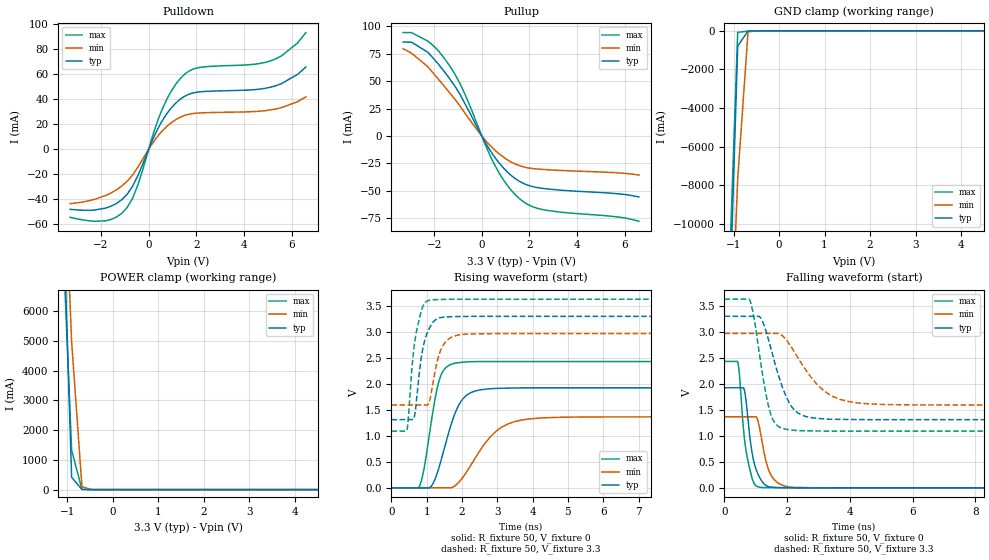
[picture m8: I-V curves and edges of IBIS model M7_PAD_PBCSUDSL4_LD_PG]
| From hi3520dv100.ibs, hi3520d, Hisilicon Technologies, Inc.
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[Model] M7_PAD_PBCSUDSL4_LD_PG
Model_type I/O
Vinl  =  0.8
Vinh  =  2
| Capacitance   typ   min   max
C_comp   3.57061683089e-12   3.82895417095e-12   3.34958467437e-12
| Variables   typ   min   max
[GND Clamp Reference]   0   0   0
[POWER Clamp Reference]   3.3   2.97   3.63
[Pulldown Reference]   0   0   0
[Pullup Reference]   3.3   2.97   3.63
[Temperature Range]   25   125   -40
[Voltage Range]   3.3   2.97   3.63
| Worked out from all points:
|   slope of the pulldown table from 0 to 0.495 V, typ, clamps not added: 24.4 ohm
|   slope of the pullup table from 0 to 0.495 V, typ, clamps not added: 27.8 ohm
|   GND clamp passes 1 mA (typ) near -0.47 V on its own axis
|   POWER clamp passes 1 mA (typ) near -0.51 V on its own axis
|   falling waveform, R_fixture 50, V_fixture 0: 20-80 % time 279ps typ, 325ps min, 252ps max; typ from 1.92 V to 0 V
|   falling waveform, R_fixture 50, V_fixture 3.3: 20-80 % time 625ps typ, 1.03ns min, 412ps max; typ from 3.3 V to 1.31 V
|   rising waveform, R_fixture 50, V_fixture 0: 20-80 % time 525ps typ, 878ps min, 353ps max; typ from 0 V to 1.92 V
|   rising waveform, R_fixture 50, V_fixture 3.3: 20-80 % time 257ps typ, 287ps min, 240ps max; typ from 1.31 V to 3.3 V
[GND Clamp]
| Voltage   I(typ)   I(min)   I(max)
-3.3V     -188.8A    -149A      -233.7A
-1.134V   -17.95A    -21.05A    -15.29A
-907.5mV  -786.7mA   -7.652A    -79.55mA
-680.6mV  -11.81mA   -50.68mA   -16.41mA
-453.7mV  -314.5uA   -586.9uA   -272.1uA
6.6V      0A         0A         0A
[POWER Clamp]
| Voltage   I(typ)   I(min)   I(max)
-3.3V     123.1A     97.09A     152.4A
-1.134V   11.45A     13.48A     9.697A
-907.5mV  415.2mA    4.97A      1.325A
-680.6mV  3.601mA    92.24mA    5.251mA
-453.7mV  104.3uA    865.1uA    659.7uA
6.6V      0A         0A         0A
[Pulldown]
| Voltage   I(typ)   I(min)   I(max)
-3.3V     -47.98mA   -43.45mA   -54.36mA
-1.815V   -47.04mA   -37.01mA   -57.17mA
-907.5mV  -36.03mA   -25.64mA   -46.56mA
-453.7mV  -21.03mA   -14.26mA   -28.44mA
206.2mV   9.38mA     6.023mA    13.22mA
618.8mV   24.29mA    15.63mA    34.17mA
1.083V    35.85mA    23.02mA    50.49mA
1.547V    42.73mA    27.26mA    60.51mA
2.217V    46.01mA    29.11mA    65.62mA
5.115V    49.62mA    31.45mA    70.65mA
5.569V    52.4mA     33.26mA    74.52mA
6.6V      65.73mA    41.85mA    93.27mA
[Pullup]
| Voltage   I(typ)   I(min)   I(max)
-3.3V     85.82mA    79.71mA    94.45mA
-2.949V   85.69mA    75.62mA    94.43mA
-2.269V   76.52mA    63.32mA    86.72mA
-1.815V   65.39mA    51.71mA    77.66mA
-1.361V   52.69mA    39.77mA    64.49mA
-680.6mV  28.35mA    20.05mA    36.95mA
103.1mV   -4.115mA   -2.738mA   -5.654mA
567.2mV   -20.05mA   -13.33mA   -27.49mA
1.083V    -33.11mA   -21.92mA   -45.45mA
1.65V     -42.29mA   -27.64mA   -58.49mA
2.63V     -48.14mA   -30.74mA   -67.6mA
6.6V      -55.85mA   -35.75mA   -78.03mA
[Ramp]
dV/dt_r   1.15468/0.524867n  0.819596/0.877917n  1.45945/0.353464n
dV/dt_f   1.19334/0.624817n  0.825819/1.027n  1.52267/0.412168n
R_load = 50
[Falling Waveform]
R_fixture = 50
V_fixture = 0
V_fixture_min = 0
V_fixture_max = 0
| Time   V(typ)   V(min)   V(max)
0s        1.924V     1.366V     2.432V
430.8ps   1.924V     1.366V     2.408V
617.5ps   1.916V     1.366V     1.073V
929.6ps   527.6mV    1.366V     108.6mV
1.049ns   294.6mV    1.328V     25.48mV
1.214ns   112.3mV    845.4mV    6.551mV
1.391ns   27.14mV    379.6mV    5.193mV
1.624ns   8.9mV      135.3mV    3.402mV
2.602ns   877.3uV    3.791mV    689.3uV
100ns     6.287nV    34.23nV    27.4nV
[Falling Waveform]
R_fixture = 50
V_fixture = 3.3
V_fixture_min = 2.97
V_fixture_max = 3.63
| Time   V(typ)   V(min)   V(max)
0s        3.3V       2.97V      3.63V
803.6ps   3.3V       2.97V      3.619V
1.158ns   3.269V     2.97V      2.407V
1.405ns   2.853V     2.97V      1.574V
1.597ns   2.425V     2.97V      1.259V
2.071ns   1.632V     2.764V     1.116V
2.483ns   1.396V     2.369V     1.098V
3.48ns    1.319V     1.752V     1.093V
5.147ns   1.312V     1.602V     1.093V
100ns     1.311V     1.594V     1.092V
[Rising Waveform]
R_fixture = 50
V_fixture = 0
V_fixture_min = 0
V_fixture_max = 0
| Time   V(typ)   V(min)   V(max)
0s        4.34nV     34.96nV    10.85nV
768.4ps   4.34nV     34.96nV    10.85nV
891.5ps   4.34nV     34.96nV    253.3mV
1.122ns   24.34mV    34.96nV    1.232V
1.473ns   693.3mV    34.96nV    2.257V
1.824ns   1.469V     53.11mV    2.402V
2.122ns   1.778V     297mV      2.423V
3.158ns   1.917V     1.181V     2.43V
4.8ns     1.922V     1.358V     2.43V
100ns     1.924V     1.366V     2.432V
[Rising Waveform]
R_fixture = 50
V_fixture = 3.3
V_fixture_min = 2.97
V_fixture_max = 3.63
| Time   V(typ)   V(min)   V(max)
0s        1.311V     1.594V     1.092V
439ps     1.313V     1.594V     1.11V
637.2ps   1.33V      1.594V     2.674V
883.7ps   2.653V     1.594V     3.475V
1.048ns   3.032V     1.609V     3.603V
1.156ns   3.163V     1.927V     3.618V
1.339ns   3.265V     2.535V     3.621V
1.513ns   3.286V     2.789V     3.625V
2.18ns    3.297V     2.959V     3.628V
100ns     3.3V       2.97V      3.63V
